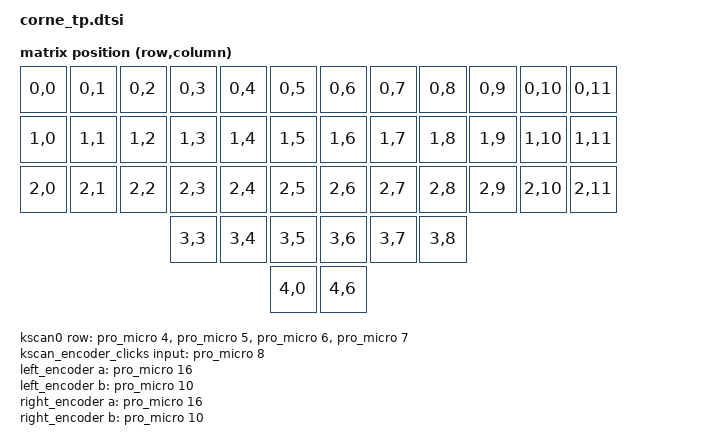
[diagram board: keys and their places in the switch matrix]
/*
 * Corne TP shield base — derived from the upstream Corne shield
 * (zmk/app/boards/shields/corne/corne.dtsi), with:
 *   - OLED node removed (no display on this build)
 *   - kscan-composite added so encoder push-switches can sit alongside the matrix
 *   - one rotary encoder per half (alps,ec11) declared but disabled — each
 *     side overlay enables only its own encoder
 *   - matrix-transform extended with two extra positions for the encoder clicks
 */

#include <dt-bindings/zmk/matrix_transform.h>

/ {
    chosen {
        zmk,kscan = &kscan_composite;
        zmk,matrix-transform = &default_transform;
    };

    /*
     * Composite kscan: physical 4x6 matrix (per side) plus one synthetic row 4
     * for the encoder push-switches. row-offset=4 places the click event on
     * row 4. col-offset stays 0; the matrix-transform's per-side col-offset
     * (set on the right overlay) shifts the right-hand click into col 6.
     */
    kscan_composite: kscan_composite {
        compatible = "zmk,kscan-composite";
        rows = <5>;
        columns = <12>;

        matrix {
            kscan = <&kscan0>;
        };

        encoder_clicks {
            kscan = <&kscan_encoder_clicks>;
            row-offset = <4>;
        };
    };

    default_transform: keymap_transform_0 {
        compatible = "zmk,matrix-transform";
        columns = <12>;
        rows = <5>;
        /*
         * Rows 0-2: 6 per side (12 cols).
         * Row 3: 3 thumb keys per side.
         * Row 4: encoder click — col 0 is left, col 6 is right (after the
         *        per-side col-offset on the right overlay).
         */
        map = <
RC(0,0) RC(0,1) RC(0,2) RC(0,3) RC(0,4) RC(0,5)  RC(0,6) RC(0,7) RC(0,8) RC(0,9) RC(0,10) RC(0,11)
RC(1,0) RC(1,1) RC(1,2) RC(1,3) RC(1,4) RC(1,5)  RC(1,6) RC(1,7) RC(1,8) RC(1,9) RC(1,10) RC(1,11)
RC(2,0) RC(2,1) RC(2,2) RC(2,3) RC(2,4) RC(2,5)  RC(2,6) RC(2,7) RC(2,8) RC(2,9) RC(2,10) RC(2,11)
                        RC(3,3) RC(3,4) RC(3,5)  RC(3,6) RC(3,7) RC(3,8)
                                        RC(4,0)  RC(4,6)
        >;
    };

    kscan0: kscan {
        compatible = "zmk,kscan-gpio-matrix";
        wakeup-source;

        diode-direction = "col2row";
        row-gpios
            = <&pro_micro 4 (GPIO_ACTIVE_HIGH | GPIO_PULL_DOWN)>
            , <&pro_micro 5 (GPIO_ACTIVE_HIGH | GPIO_PULL_DOWN)>
            , <&pro_micro 6 (GPIO_ACTIVE_HIGH | GPIO_PULL_DOWN)>
            , <&pro_micro 7 (GPIO_ACTIVE_HIGH | GPIO_PULL_DOWN)>
            ;
    };

    /*
     * Encoder push-switch on D8 = P1.04.
     * Wired through gpio-direct so it produces a (row=0, col=0) event that
     * the composite shifts to row 4. The per-side overlay does not need to
     * touch this — both halves use the same pin and the matrix-transform's
     * col-offset takes care of separating left vs right clicks.
     */
    kscan_encoder_clicks: kscan_encoder_clicks {
        compatible = "zmk,kscan-gpio-direct";
        wakeup-source;
        input-gpios
            = <&pro_micro 8 (GPIO_ACTIVE_LOW | GPIO_PULL_UP)>
            ;
    };

    /* Encoder A on D16 = P0.10, B on D10 = P0.09 — same pins on both halves
     * for handwiring symmetry. Each side overlay enables only its own. */
    left_encoder: left_encoder {
        compatible = "alps,ec11";
        a-gpios = <&pro_micro 16 (GPIO_ACTIVE_HIGH | GPIO_PULL_UP)>;
        b-gpios = <&pro_micro 10 (GPIO_ACTIVE_HIGH | GPIO_PULL_UP)>;
        steps = <80>;
        status = "disabled";
    };

    right_encoder: right_encoder {
        compatible = "alps,ec11";
        a-gpios = <&pro_micro 16 (GPIO_ACTIVE_HIGH | GPIO_PULL_UP)>;
        b-gpios = <&pro_micro 10 (GPIO_ACTIVE_HIGH | GPIO_PULL_UP)>;
        steps = <80>;
        status = "disabled";
    };

    sensors: sensors {
        compatible = "zmk,keymap-sensors";
        sensors = <&left_encoder &right_encoder>;
        triggers-per-rotation = <20>;
    };
};
